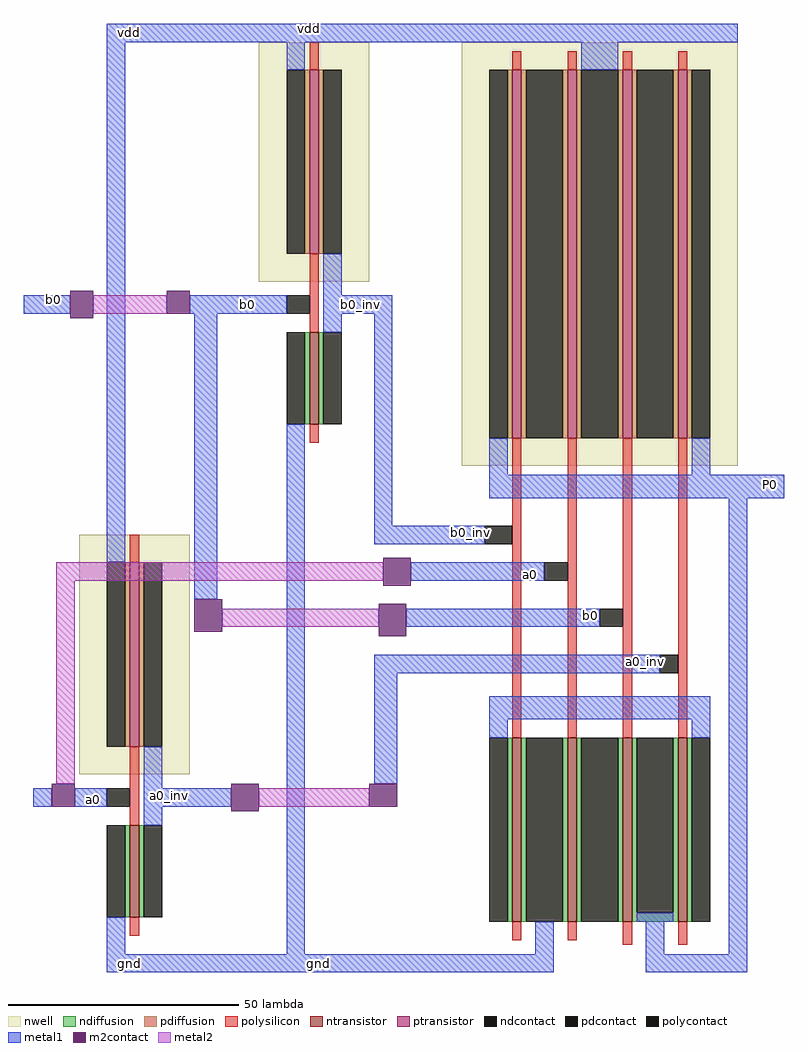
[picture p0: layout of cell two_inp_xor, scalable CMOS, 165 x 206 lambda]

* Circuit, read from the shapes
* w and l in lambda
.subckt two_inp_xor P0 a0 a0_inv b0 b0_inv gnd vdd
M1 a0_inv a0 gnd VSUBS nfet w=20 l=2
M2 b0_inv b0 gnd VSUBS nfet w=20 l=2
M3 gnd b0_inv n1 VSUBS nfet w=40 l=2
M4 n2 a0 gnd VSUBS nfet w=40 l=2
M5 P0 b0 n2 VSUBS nfet w=40 l=2
M6 n1 a0_inv P0 VSUBS nfet w=40 l=2
M7 a0_inv a0 vdd n3 pfet w=40 l=2
M8 b0_inv b0 vdd n4 pfet w=40 l=2
M9 n5 b0_inv P0 n6 pfet w=80 l=2
M10 vdd a0 n5 n6 pfet w=80 l=2
M11 n7 b0 vdd n6 pfet w=80 l=2
M12 P0 a0_inv n7 n6 pfet w=80 l=2
.ends

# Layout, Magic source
magic
tech scmos
<< nwell >>
rect 21 97 45 149
rect 65 57 125 149
rect -18 -10 6 42
<< ntransistor >>
rect 32 66 34 86
rect -7 -41 -5 -21
rect 76 -42 78 -2
rect 88 -42 90 -2
rect 100 -42 102 -2
rect 112 -42 114 -2
<< ptransistor >>
rect 32 103 34 143
rect 76 63 78 143
rect 88 63 90 143
rect 100 63 102 143
rect 112 63 114 143
rect -7 -4 -5 36
<< ndiffusion >>
rect 31 66 32 86
rect 34 66 35 86
rect -8 -41 -7 -21
rect -5 -41 -4 -21
rect 75 -42 76 -2
rect 78 -42 79 -2
rect 87 -42 88 -2
rect 90 -42 91 -2
rect 99 -42 100 -2
rect 102 -40 103 -2
rect 111 -40 112 -2
rect 102 -42 112 -40
rect 114 -42 115 -2
<< pdiffusion >>
rect 31 103 32 143
rect 34 103 35 143
rect 75 63 76 143
rect 78 63 79 143
rect 87 63 88 143
rect 90 63 91 143
rect 99 63 100 143
rect 102 63 103 143
rect 111 63 112 143
rect 114 63 115 143
rect -8 -4 -7 36
rect -5 -4 -4 36
<< ndcontact >>
rect 27 66 31 86
rect 35 66 39 86
rect -12 -41 -8 -21
rect -4 -41 0 -21
rect 71 -42 75 -2
rect 79 -42 87 -2
rect 91 -42 99 -2
rect 103 -40 111 -2
rect 115 -42 119 -2
<< pdcontact >>
rect 27 103 31 143
rect 35 103 39 143
rect 71 63 75 143
rect 79 63 87 143
rect 91 63 99 143
rect 103 63 111 143
rect 115 63 119 143
rect -12 -4 -8 36
rect -4 -4 0 36
<< polysilicon >>
rect 32 143 34 149
rect 76 143 78 147
rect 88 143 90 147
rect 100 143 102 147
rect 112 143 114 147
rect 32 86 34 103
rect 32 62 34 66
rect -7 36 -5 42
rect 76 -2 78 63
rect 88 -2 90 63
rect 100 -2 102 63
rect 112 -2 114 63
rect -7 -21 -5 -4
rect -7 -45 -5 -41
rect 76 -46 78 -42
rect 88 -46 90 -42
rect 100 -47 102 -42
rect 112 -47 114 -42
<< polycontact >>
rect 27 90 32 94
rect 70 40 76 44
rect 83 32 88 36
rect 95 22 100 26
rect 108 12 112 16
rect -12 -17 -7 -13
<< metal1 >>
rect -12 149 125 153
rect -30 90 -20 94
rect -12 36 -8 149
rect 27 143 31 149
rect 91 143 99 149
rect 35 94 39 103
rect 6 90 27 94
rect 35 90 50 94
rect 7 28 12 90
rect 35 86 39 90
rect -28 -17 -24 -13
rect -4 -13 0 -4
rect -19 -17 -12 -13
rect -4 -17 15 -13
rect -4 -21 0 -17
rect -12 -49 -8 -41
rect 27 -49 31 66
rect 46 44 50 90
rect 71 55 75 63
rect 115 55 119 63
rect 71 50 135 55
rect 46 40 70 44
rect 54 32 83 36
rect 53 22 95 26
rect 46 12 108 16
rect 46 -12 51 12
rect 71 2 119 7
rect 71 -2 75 2
rect 115 -2 119 2
rect 103 -42 111 -40
rect 81 -49 85 -42
rect -12 -53 85 -49
rect 105 -49 109 -42
rect 123 -49 127 50
rect 105 -53 127 -49
<< m2contact >>
rect -20 89 -15 95
rect 1 90 6 95
rect 7 21 13 28
rect -24 -17 -19 -12
rect 15 -18 21 -12
rect 48 31 54 37
rect 47 20 53 27
rect 45 -17 51 -12
<< metal2 >>
rect -15 90 1 94
rect -23 32 48 36
rect -23 -12 -19 32
rect 13 22 47 26
rect 21 -17 45 -13
<< labels >>
rlabel metal1 132 53 132 53 1 P0
rlabel metal1 -7 -51 -7 -51 1 gnd
rlabel metal1 -7 151 -7 151 5 vdd
rlabel metal1 34 -51 34 -51 1 gnd
rlabel metal1 32 152 32 152 5 vdd
rlabel space -18 -18 -12 -13 1 a0
rlabel space -2 -18 5 -11 1 a0_inv
rlabel metal1 40 90 46 94 1 b0_inv
rlabel metal1 103 13 107 16 1 a0_inv
rlabel metal1 91 23 95 26 1 b0
rlabel metal1 78 32 82 35 1 a0
rlabel metal1 65 41 69 44 1 b0_inv
rlabel metal1 15 90 22 94 1 b0
rlabel space -27 90 -20 96 1 b0
<< end >>
